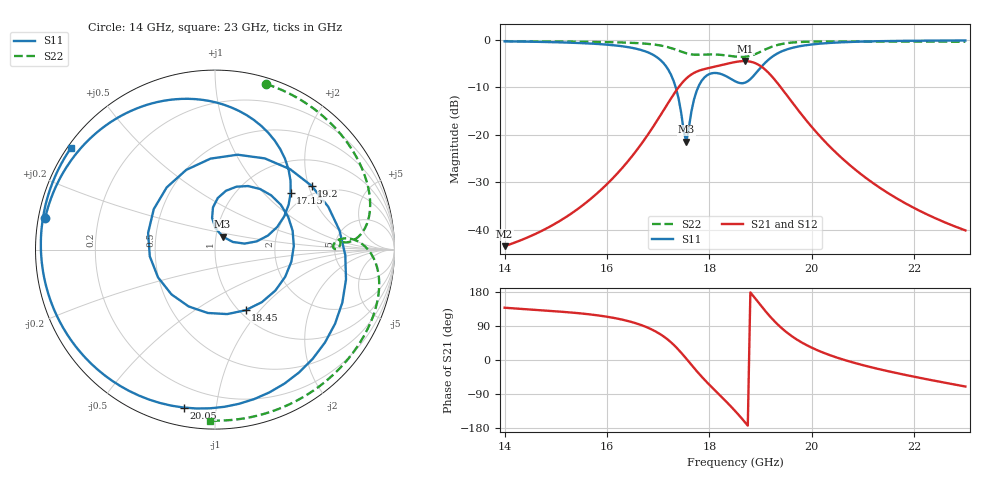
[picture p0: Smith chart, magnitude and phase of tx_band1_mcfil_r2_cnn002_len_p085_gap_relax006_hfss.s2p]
! Touchstone file exported from HFSS 3D Layout Design 2026.1.0
!  File:  D:/Work/SIM/ADS_AUTO_SIM/projects/RFSOC_RF/TX_Fillter.aedt
!  Generated:  09:51:31 PM Aug 30, 2026
!  Design:  TX_BAND1_MCFIL_R2_CNN002
!  Project:  TX_Fillter
# GHz S MA R 50.000000
! Terminal data exported
! Port[1] = Port1
! Port[2] = Port2
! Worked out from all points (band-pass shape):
!   181 points, 14 GHz to 23 GHz, reference 50 ohm
!   highest |S21| = -4.51 dB at 18.7 GHz (marker M1); lowest = -43.5 dB at 14 GHz (marker M2)
!   |S21| within 3 dB of the highest: 17.62 GHz to 19.2 GHz (1.578 GHz wide, 8.57 % of centre)
!   lowest |S11| = -21.5 dB at 17.55 GHz (marker M3), VSWR 1.18, Z = 53.8 + j7.88 ohm
!   |S11| at or under -10 dB: 17.34 GHz to 17.78 GHz (441.5 MHz wide, 2.51 % of centre)
!   |S22| runs from -3.6 to -0.3 dB; largest |S21 - S12| = 1.3e-15
!   S11 on the Smith chart (normalised r, x): 14 GHz: 0.02, +0.09; 17.15 GHz: 1.66, +1.46; 18.45 GHz: 1.07, -0.84; 19.2 GHz: 1.72, +2.10; 20.05 GHz: 0.09, -0.82; 23 GHz: 0.01, +0.32
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14  0.9623 169.4  0.006682 137.9  0.006682 137.9  0.9658 72.9
15.5  0.921 131.3  0.0176 122.8  0.0176 122.8  0.9526 44.8
16.4  0.8376 94.9  0.0517 103.2  0.0517 103.2  0.9311 26.4
17  0.6392 52.4  0.1466 71.4  0.1466 71.4  0.8776 12.1
17.15  0.5279 37.0  0.1975 57.8  0.1975 57.8  0.8459 8.3
17.55  0.08419 59.7  0.3911 3.3  0.3911 3.3  0.7183 3.3
17.75  0.288 86.9  0.4609 -28.9  0.4609 -28.9  0.6944 4.5
17.95  0.4206 53.4  0.4979 -58.5  0.4979 -58.5  0.6993 4.0
18.2  0.4396 2.6  0.5346 -92.4  0.5346 -92.4  0.6944 1.6
18.45  0.3784 -63.2  0.5746 -126.9  0.5746 -126.9  0.6699 0.2
18.5  0.3656 -79.3  0.5816 -134.1  0.5816 -134.1  0.6651 0.4
18.7  0.3532 -154.0  0.5953 -165.1  0.5953 -165.1  0.6612 2.4
18.85  0.409 146.5  0.5779 170.0  0.5779 170.0  0.6898 4.5
19  0.5075 92.8  0.5277 144.5  0.5277 144.5  0.7476 4.8
19.2  0.6452 33.4  0.4224 112.5  0.4224 112.5  0.8359 1.2
19.45  0.7684 -22.6  0.2881 79.5  0.2881 79.5  0.9092 -6.4
19.7  0.8409 -62.6  0.1911 54.7  0.1911 54.7  0.9415 -14.0
20  0.8912 -96.6  0.1204 32.4  0.1204 32.4  0.9552 -22.3
20.05  0.8973 -101.3  0.112 29.3  0.112 29.3  0.9563 -23.6
20.65  0.943 -142.6  0.05275 -0.4  0.05275 -0.4  0.9599 -38.1
21.5  0.9687 -177.7  0.02402 -29.9  0.02402 -29.9  0.9576 -57.4
23  0.9823 144.6  0.009798 -70.0  0.009798 -70.0  0.9529 -91.7
